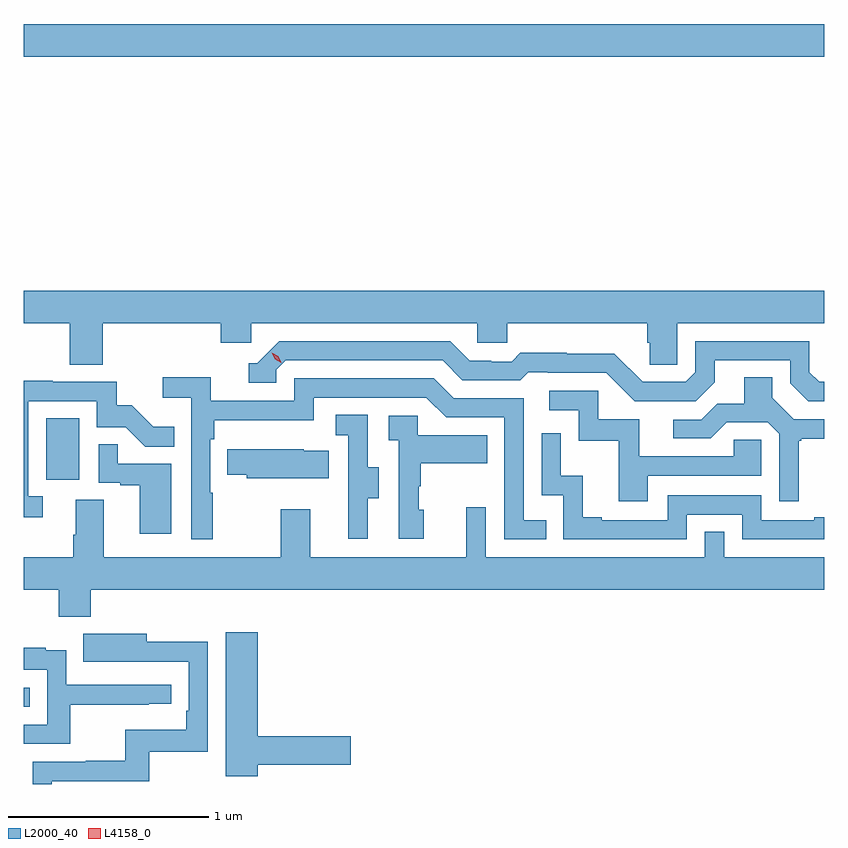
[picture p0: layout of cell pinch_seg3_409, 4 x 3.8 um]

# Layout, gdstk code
import gdstk
lib = gdstk.Library(unit=1e-6, precision=1e-09)
def R(c, l, rs):  # rectangles x0, y0, x1, y1
    for r in rs: c.add(gdstk.rectangle(r[:2], r[2:], *l))
def P(c, l, *ps):  # polygons
    for p in ps: c.add(gdstk.Polygon(p, *l))
L2000_40 = (2000, 40)
L4158_0 = (4158, 0)

pinch_seg3_409 = lib.new_cell('pinch_seg3_409')
R(pinch_seg3_409, L2000_40, [(898.474,693.672,898.505,693.768), (898.586,694.806,898.75,695.113), (898.474,696.92,902.474,697.084)])
P(pinch_seg3_409, L2000_40, [(898.868,695.588),(899.459,695.588),(899.459,695.49),(899.61,695.49),(899.61,695.588),(900.741,695.588),(900.741,695.49),(900.891,695.49),(900.891,695.588),(901.589,695.588),(901.589,695.49),(901.603,695.49),(901.603,695.38),(901.74,695.38),(901.74,695.588),(902.474,695.588),(902.474,695.752),(898.474,695.752),(898.474,695.588),(898.703,695.588),(898.703,695.38),(898.868,695.38)],
  [(901.927,695.293),(901.927,695.403),(902.304,695.403),(902.304,695.289),(902.394,695.199),(902.474,695.199),(902.474,695.295),(902.448,695.295),(902.4,695.343),(902.4,695.499),(901.83,695.499),(901.83,695.343),(901.782,695.295),(901.566,695.295),(901.424,695.437),(901.188,695.437),(901.188,695.44),(900.955,695.44),(900.913,695.397),(900.81,695.397),(900.81,695.4),(900.703,695.4),(900.604,695.499),(899.751,695.499),(899.64,695.388),(899.597,695.388),(899.597,695.292),(899.736,695.292),(899.736,695.355),(899.784,695.403),(900.567,695.403),(900.666,695.304),(900.955,695.304),(900.994,695.343),(901.093,695.343),(901.093,695.34),(901.386,695.34),(901.527,695.199),(901.833,695.199)],
  [(899.419,694.742),(899.406,694.742),(899.406,695.009),(899.426,695.009),(899.426,695.105),(899.922,695.105),(899.922,695.217),(900.486,695.217),(900.585,695.118),(900.876,695.118),(900.876,694.509),(901.085,694.509),(901.085,694.605),(900.972,694.605),(900.972,695.214),(900.622,695.214),(900.523,695.313),(899.826,695.313),(899.826,695.202),(899.408,695.202),(899.408,695.318),(899.169,695.318),(899.169,695.216),(899.31,695.216),(899.31,694.509),(899.419,694.509)],
  [(902.347,695.001),(902.359,695.001),(902.359,695.012),(902.474,695.012),(902.474,695.109),(902.322,695.109),(902.215,695.216),(902.215,695.318),(902.075,695.318),(902.075,695.186),(901.94,695.186),(901.86,695.106),(901.719,695.106),(901.719,695.013),(901.906,695.013),(901.987,695.094),(902.193,695.094),(902.25,695.037),(902.25,694.698),(902.347,694.698)],
  [(898.57,694.725),(898.497,694.725),(898.497,695.199),(898.839,695.199),(898.839,695.07),(898.983,695.07),(899.081,694.972),(899.225,694.972),(899.225,695.071),(899.121,695.071),(899.014,695.178),(898.938,695.178),(898.938,695.295),(898.619,695.295),(898.619,695.3),(898.474,695.3),(898.474,694.62),(898.57,694.62)],
  [(901.591,694.827),(902.16,694.827),(902.16,695.007),(902.023,695.007),(902.023,694.923),(901.549,694.923),(901.549,695.109),(901.344,695.109),(901.344,695.25),(901.101,695.25),(901.101,695.154),(901.248,695.154),(901.248,695.001),(901.447,695.001),(901.447,694.698),(901.591,694.698)],
  [(900.193,694.714),(900.247,694.714),(900.247,694.869),(900.192,694.869),(900.192,695.132),(900.033,695.132),(900.033,695.029),(900.096,695.029),(900.096,694.725),(900.095,694.725),(900.095,694.512),(900.193,694.512)],
  [(900.472,694.656),(900.447,694.656),(900.447,694.775),(900.457,694.775),(900.457,694.889),(900.791,694.889),(900.791,695.029),(900.444,695.029),(900.444,695.127),(900.297,695.127),(900.297,695.003),(900.348,695.003),(900.348,694.512),(900.472,694.512)],
  [(901.788,694.632),(902.064,694.632),(902.064,694.509),(902.474,694.509),(902.474,694.618),(902.423,694.618),(902.423,694.605),(902.16,694.605),(902.16,694.728),(901.692,694.728),(901.692,694.605),(901.363,694.605),(901.363,694.618),(901.268,694.618),(901.268,694.826),(901.158,694.826),(901.158,695.038),(901.062,695.038),(901.062,694.728),(901.17,694.728),(901.17,694.509),(901.788,694.509)],
  [(899.212,694.887),(898.943,694.887),(898.943,694.985),(898.848,694.985),(898.848,694.791),(898.955,694.791),(898.955,694.779),(899.054,694.779),(899.054,694.536),(899.212,694.536)],
  [(899.999,694.951),(899.874,694.951),(899.874,694.96),(899.491,694.96),(899.491,694.831),(899.589,694.831),(899.589,694.814),(899.999,694.814)],
  [(898.808,694.256),(902.474,694.256),(902.474,694.42),(901.974,694.42),(901.974,694.547),(901.878,694.547),(901.878,694.42),(900.783,694.42),(900.783,694.669),(900.686,694.669),(900.686,694.42),(899.905,694.42),(899.905,694.66),(899.758,694.66),(899.758,694.42),(898.873,694.42),(898.873,694.706),(898.733,694.706),(898.733,694.532),(898.721,694.532),(898.721,694.42),(898.474,694.42),(898.474,694.256),(898.648,694.256),(898.648,694.121),(898.808,694.121)],
  [(899.644,693.382),(900.109,693.382),(900.109,693.524),(899.644,693.524),(899.644,694.045),(899.483,694.045),(899.483,693.324),(899.644,693.324)],
  [(898.614,693.3),(899.101,693.3),(899.101,693.447),(899.394,693.447),(899.394,693.998),(899.089,693.998),(899.089,694.036),(898.771,694.036),(898.771,693.896),(898.985,693.896),(898.985,693.897),(899.298,693.897),(899.298,693.652),(899.285,693.652),(899.285,693.556),(898.98,693.556),(898.98,693.401),(898.783,693.401),(898.783,693.396),(898.518,693.396),(898.518,693.286),(898.614,693.286)],
  [(898.706,693.682),(899.099,693.682),(899.099,693.687),(899.212,693.687),(899.212,693.783),(898.686,693.783),(898.686,693.955),(898.583,693.955),(898.583,693.967),(898.474,693.967),(898.474,693.858),(898.59,693.858),(898.59,693.582),(898.474,693.582),(898.474,693.486),(898.706,693.486)])
P(pinch_seg3_409, L4158_0, [(899.76,695.39),(899.73,695.409),(899.714,695.442),(899.714,695.442),(899.714,695.442),(899.745,695.423),(899.761,695.39),(899.761,695.39)])

lib.write_gds('pinch_seg3_409.gds')
